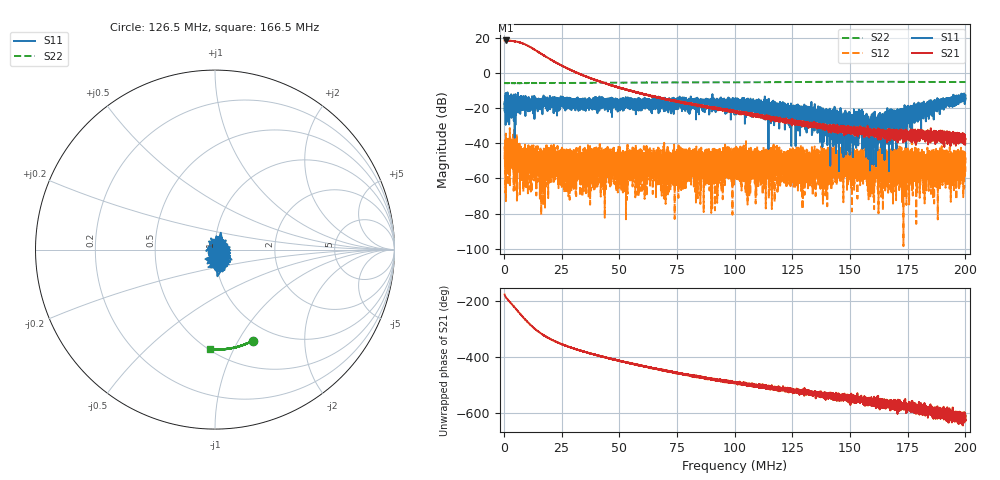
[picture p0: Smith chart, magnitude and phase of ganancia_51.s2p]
# Hz S DB R 50
! CMT, M5065, 19127446, 24.2.4/2
! Date: 11/8/2024 4:14:49 PM
! Data: Format (Calibration Info)
! Freq	S11:dB/Ang(F2)	S21:dB/Ang(F2)	S12:dB/Ang(F2)	S22:dB/Ang(F2)
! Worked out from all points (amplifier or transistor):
!   9000 points, 300 kHz to 200 MHz, reference 50 ohm
!   highest |S21| = 18.4 dB at 766 kHz (marker M1)
!   |S21| within 3 dB of that: start of sweep to 10.32 MHz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
!   unconditionally stable (mu >= 1): start of sweep to end of sweep
!   at 33.59 MHz: K = 110.91, MAG = 0.3 dB, |S12| = -48.7 dB
!   at 100.2 MHz: K = 1455.63, MAG = -20.6 dB, |S12| = -50.3 dB
!   at 200 MHz: K = 15974.84, MAG = -35.6 dB, |S12| = -56.3 dB
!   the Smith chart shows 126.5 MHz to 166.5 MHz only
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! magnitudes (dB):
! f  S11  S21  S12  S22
! 300 kHz  -16.6  18.3  -48.8  -5.8
! 766 kHz  -29.5  18.4  -45.7  -5.9
! 3.984 MHz  -15.2  18.0  -42.1  -5.9
! 7.778 MHz  -16.8  16.9  -59.7  -5.9
! 21.03 MHz  -15.4  7.0  -51.3  -5.8
! 25.69 MHz  -16.1  3.7  -53.4  -5.8
! 33.59 MHz  -17.0  -1.1  -48.7  -5.7
! 54.36 MHz  -17.6  -10.1  -48.9  -5.6
! 58.44 MHz  -15.3  -11.5  -50.6  -5.6
! 66.87 MHz  -20.6  -14.1  -47.2  -5.5
! 72.07 MHz  -17.4  -15.5  -47.6  -5.5
! 81.59 MHz  -16.1  -17.6  -48.6  -5.5
! 100.2 MHz  -16.3  -22.1  -50.3  -5.4
! 133.4 MHz  -25.1  -29.5  -58.1  -5.1
! 147.5 MHz  -32.1  -31.3  -51.9  -5.1
! 154.6 MHz  -26.9  -30.6  -53.7  -5.1
! 158.4 MHz  -36.6  -35.9  -54.2  -5.1
! 166.7 MHz  -23.3  -35.0  -46.3  -5.1
! 182.5 MHz  -18.0  -33.3  -49.9  -5.2
! 190.3 MHz  -15.1  -34.3  -45.4  -5.2
! 199 MHz  -13.2  -37.1  -49.6  -5.3
! 200 MHz  -12.8  -37.4  -56.3  -5.3
